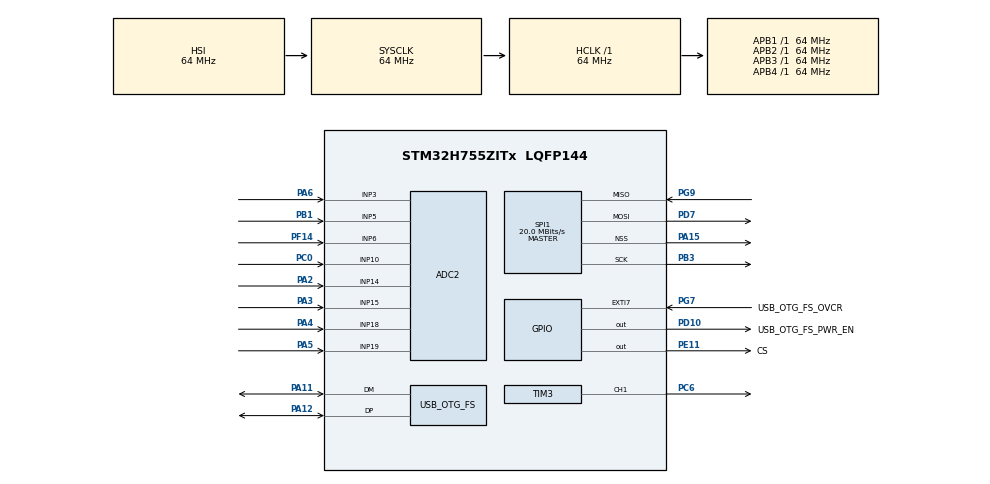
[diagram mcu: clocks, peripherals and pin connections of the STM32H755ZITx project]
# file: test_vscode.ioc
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ADC2.Channel-2\#ChannelRegularConversion=ADC_CHANNEL_3
ADC2.Channel-3\#ChannelRegularConversion=ADC_CHANNEL_5
ADC2.Channel-4\#ChannelRegularConversion=ADC_CHANNEL_6
ADC2.Channel-5\#ChannelRegularConversion=ADC_CHANNEL_10
ADC2.Channel-6\#ChannelRegularConversion=ADC_CHANNEL_14
ADC2.Channel-7\#ChannelRegularConversion=ADC_CHANNEL_15
ADC2.Channel-8\#ChannelRegularConversion=ADC_CHANNEL_18
ADC2.Channel-9\#ChannelRegularConversion=ADC_CHANNEL_19
ADC2.ContinuousConvMode=DISABLE
ADC2.ConversionDataManagement=ADC_CONVERSIONDATA_DMA_CIRCULAR
ADC2.EOCSelection=ADC_EOC_SEQ_CONV
ADC2.EnableInjectedConversion=DISABLE
ADC2.ExternalTrigConv=ADC_EXTERNALTRIG_T8_TRGO
ADC2.Mode=ADC_MODE_INDEPENDENT
ADC2.NbrOfConversion=8
ADC2.NbrOfConversionFlag=1
ADC2.OffsetNumber-2\#ChannelRegularConversion=ADC_OFFSET_NONE
ADC2.OffsetNumber-3\#ChannelRegularConversion=ADC_OFFSET_NONE
ADC2.OffsetNumber-4\#ChannelRegularConversion=ADC_OFFSET_NONE
ADC2.OffsetNumber-5\#ChannelRegularConversion=ADC_OFFSET_NONE
ADC2.OffsetNumber-6\#ChannelRegularConversion=ADC_OFFSET_NONE
ADC2.OffsetNumber-7\#ChannelRegularConversion=ADC_OFFSET_NONE
ADC2.OffsetNumber-8\#ChannelRegularConversion=ADC_OFFSET_NONE
ADC2.OffsetNumber-9\#ChannelRegularConversion=ADC_OFFSET_NONE
ADC2.OffsetSignedSaturation-2\#ChannelRegularConversion=DISABLE
ADC2.OffsetSignedSaturation-3\#ChannelRegularConversion=DISABLE
ADC2.OffsetSignedSaturation-4\#ChannelRegularConversion=DISABLE
ADC2.OffsetSignedSaturation-5\#ChannelRegularConversion=DISABLE
ADC2.OffsetSignedSaturation-6\#ChannelRegularConversion=DISABLE
ADC2.OffsetSignedSaturation-7\#ChannelRegularConversion=DISABLE
ADC2.OffsetSignedSaturation-8\#ChannelRegularConversion=DISABLE
ADC2.OffsetSignedSaturation-9\#ChannelRegularConversion=DISABLE
ADC2.Overrun=ADC_OVR_DATA_OVERWRITTEN
ADC2.Rank-2\#ChannelRegularConversion=1
ADC2.Rank-3\#ChannelRegularConversion=2
ADC2.Rank-4\#ChannelRegularConversion=3
ADC2.Rank-5\#ChannelRegularConversion=4
ADC2.Rank-6\#ChannelRegularConversion=5
ADC2.Rank-7\#ChannelRegularConversion=6
ADC2.Rank-8\#ChannelRegularConversion=7
ADC2.Rank-9\#ChannelRegularConversion=8
ADC2.SamplingTime-2\#ChannelRegularConversion=ADC_SAMPLETIME_32CYCLES_5
ADC2.SamplingTime-3\#ChannelRegularConversion=ADC_SAMPLETIME_32CYCLES_5
ADC2.SamplingTime-4\#ChannelRegularConversion=ADC_SAMPLETIME_32CYCLES_5
ADC2.SamplingTime-5\#ChannelRegularConversion=ADC_SAMPLETIME_32CYCLES_5
ADC2.SamplingTime-6\#ChannelRegularConversion=ADC_SAMPLETIME_32CYCLES_5
ADC2.SamplingTime-7\#ChannelRegularConversion=ADC_SAMPLETIME_32CYCLES_5
ADC2.SamplingTime-8\#ChannelRegularConversion=ADC_SAMPLETIME_32CYCLES_5
ADC2.SamplingTime-9\#ChannelRegularConversion=ADC_SAMPLETIME_32CYCLES_5
CORTEX_M7.AccessPermission-Cortex_Memory_Protection_Unit_Region0_Settings=MPU_REGION_FULL_ACCESS
CORTEX_M7.BaseAddress-Cortex_Memory_Protection_Unit_Region0_Settings=0x30000000
CORTEX_M7.CPU_DCache=Enabled
CORTEX_M7.CPU_ICache=Enabled
CORTEX_M7.DisableExec-Cortex_Memory_Protection_Unit_Region0_Settings=MPU_INSTRUCTION_ACCESS_DISABLE
CORTEX_M7.Enable-Cortex_Memory_Protection_Unit_Region0_Settings=MPU_REGION_ENABLE
CORTEX_M7.IsBufferable-Cortex_Memory_Protection_Unit_Region0_Settings=MPU_ACCESS_BUFFERABLE
CORTEX_M7.IsShareable-Cortex_Memory_Protection_Unit_Region0_Settings=MPU_ACCESS_SHAREABLE
CORTEX_M7.MPU_Control=MPU_PRIVILEGED_DEFAULT
CORTEX_M7.Size-Cortex_Memory_Protection_Unit_Region0_Settings=MPU_REGION_SIZE_4KB
CortexM4.IPs=FATFS_M4\:I,FREERTOS_M4\:I,IWDG2\:I,RCC,WWDG2\:I,DMA,BDMA,MDMA,NVIC2\:I,USART3,DEBUG,PDM2PCM_M4\:I,PWR,RESMGR_UTILITY,SYS_M4\:I,USB_DEVICE_M4\:I,USB_HOST_M4\:I,CORTEX_M4\:I,GPIO,OPENAMP_M4\:I,VREFBUF,NUCLEO-H755ZI-Q
CortexM7.IPs=FATFS_M7\:I,FREERTOS_M7\:I,IWDG1\:I,RCC\:I,WWDG1\:I,DMA\:I,BDMA\:I,MDMA\:I,NVIC1\:I,USART3\:I,SYS\:I,CORTEX_M7\:I,DEBUG\:I,PDM2PCM_M7\:I,PWR\:I,RESMGR_UTILITY\:I,USB_DEVICE_M7\:I,USB_HOST_M7\:I,GPIO\:I,OPENAMP_M7\:I,VREFBUF\:I,NUCLEO-H755ZI-Q\:I,ADC2\:I,TIM8\:I,SPI1\:I,MEMORYMAP\:I,TIM1\:I,USB_OTG_FS\:I,TIM3\:I
Dma.ADC2.0.Direction=DMA_PERIPH_TO_MEMORY
Dma.ADC2.0.EventEnable=DISABLE
Dma.ADC2.0.FIFOMode=DMA_FIFOMODE_DISABLE
Dma.ADC2.0.Instance=DMA1_Stream1
Dma.ADC2.0.MemDataAlignment=DMA_MDATAALIGN_HALFWORD
Dma.ADC2.0.MemInc=DMA_MINC_ENABLE
Dma.ADC2.0.Mode=DMA_CIRCULAR
Dma.ADC2.0.PeriphDataAlignment=DMA_PDATAALIGN_HALFWORD
Dma.ADC2.0.PeriphInc=DMA_PINC_DISABLE
Dma.ADC2.0.Polarity=HAL_DMAMUX_REQ_GEN_RISING
Dma.ADC2.0.Priority=DMA_PRIORITY_LOW
Dma.ADC2.0.RequestNumber=1
Dma.ADC2.0.SignalID=NONE
Dma.ADC2.0.SyncEnable=DISABLE
Dma.ADC2.0.SyncPolarity=HAL_DMAMUX_SYNC_NO_EVENT
Dma.ADC2.0.SyncRequestNumber=1
Dma.ADC2.0.SyncSignalID=NONE
Dma.Request0=ADC2
Dma.Request1=SPI1_TX
Dma.SPI1_TX.1.Direction=DMA_MEMORY_TO_PERIPH
Dma.SPI1_TX.1.EventEnable=DISABLE
Dma.SPI1_TX.1.FIFOMode=DMA_FIFOMODE_DISABLE
Dma.SPI1_TX.1.Instance=DMA2_Stream0
Dma.SPI1_TX.1.MemDataAlignment=DMA_MDATAALIGN_WORD
Dma.SPI1_TX.1.MemInc=DMA_MINC_ENABLE
Dma.SPI1_TX.1.Mode=DMA_NORMAL
Dma.SPI1_TX.1.PeriphDataAlignment=DMA_PDATAALIGN_WORD
Dma.SPI1_TX.1.PeriphInc=DMA_PINC_DISABLE
Dma.SPI1_TX.1.Polarity=HAL_DMAMUX_REQ_GEN_RISING
Dma.SPI1_TX.1.Priority=DMA_PRIORITY_VERY_HIGH
Dma.SPI1_TX.1.RequestNumber=1
Dma.SPI1_TX.1.SignalID=NONE
Dma.SPI1_TX.1.SyncEnable=DISABLE
Dma.SPI1_TX.1.SyncPolarity=HAL_DMAMUX_SYNC_NO_EVENT
Dma.SPI1_TX.1.SyncRequestNumber=1
Dma.SPI1_TX.1.SyncSignalID=NONE
Mcu.Family=STM32H7
Mcu.Name=STM32H755ZITx
Mcu.Package=LQFP144
NUCLEO-H755ZI-Q.BUTTON=1
NUCLEO-H755ZI-Q.LD1=true
NUCLEO-H755ZI-Q.LD2=true
NUCLEO-H755ZI-Q.LD3=true
NUCLEO-H755ZI-Q.VCP=true
NVIC1.ADC_IRQn=true\:0\:0\:false\:false\:true\:true\:true\:true
NVIC1.DMA1_Stream1_IRQn=true\:0\:0\:false\:false\:true\:false\:true\:true
NVIC1.DMA2_Stream0_IRQn=true\:0\:0\:false\:false\:true\:false\:true\:true
NVIC1.EXTI15_10_IRQn=true\:0\:0\:false\:false\:true\:false\:true\:true
NVIC1.OTG_FS_IRQn=true\:0\:0\:false\:false\:true\:true\:true\:true
NVIC1.PriorityGroup=NVIC_PRIORITYGROUP_4
NVIC1.SPI1_IRQn=true\:0\:0\:false\:false\:true\:false\:true\:true
NVIC1.TIM1_BRK_IRQn=true\:0\:0\:false\:false\:true\:true\:true\:true
NVIC1.TIM1_CC_IRQn=true\:0\:0\:false\:false\:true\:true\:true\:true
NVIC1.TIM1_TRG_COM_IRQn=true\:0\:0\:false\:false\:true\:true\:true\:true
NVIC1.TIM1_UP_IRQn=true\:0\:0\:false\:false\:true\:true\:true\:true
NVIC1.TIM3_IRQn=true\:0\:0\:false\:false\:true\:true\:true\:true
NVIC1.TIM8_BRK_TIM12_IRQn=true\:0\:0\:false\:false\:true\:true\:true\:true
NVIC1.TIM8_CC_IRQn=true\:0\:0\:false\:false\:true\:true\:true\:true
NVIC1.TIM8_TRG_COM_TIM14_IRQn=true\:0\:0\:false\:false\:true\:true\:true\:true
NVIC1.TIM8_UP_TIM13_IRQn=true\:0\:0\:false\:false\:true\:true\:true\:true
NVIC2.PriorityGroup=NVIC_PRIORITYGROUP_4
PA1.PinAttribute=CortexM4
PA1.Signal=ETH_REF_CLK
PA11.Mode=Device_Only
PA11.PinAttribute=CortexM7
PA11.Signal=USB_OTG_FS_DM
PA12.Mode=Device_Only
PA12.PinAttribute=CortexM7
PA12.Signal=USB_OTG_FS_DP
PA13\ (JTMS/SWDIO).Mode=Serial_Wire
PA13\ (JTMS/SWDIO).PinAttribute=CortexM7
PA13\ (JTMS/SWDIO).Signal=DEBUG_JTMS-SWDIO
PA14\ (JTCK/SWCLK).Mode=Serial_Wire
PA14\ (JTCK/SWCLK).PinAttribute=CortexM7
PA14\ (JTCK/SWCLK).Signal=DEBUG_JTCK-SWCLK
PA15\ (JTDI).Mode=NSS_Signal_Hard_Output
PA15\ (JTDI).PinAttribute=CortexM7
PA15\ (JTDI).Signal=SPI1_NSS
PA2.PinAttribute=CortexM7
PA2.Signal=ADCx_INP14
PA3.PinAttribute=CortexM7
PA3.Signal=ADCx_INP15
PA4.PinAttribute=CortexM7
PA4.Signal=ADCx_INP18
PA5.PinAttribute=CortexM7
PA5.Signal=ADCx_INP19
PA6.PinAttribute=CortexM7
PA6.Signal=ADCx_INP3
PA7.PinAttribute=Free
PA7.Signal=ADCx_INP7
PA8.PinAttribute=CortexM7
PA8.Signal=USB_OTG_FS_SOF
PA9.PinAttribute=CortexM7
PA9.Signal=USB_OTG_FS_VBUS
PB1.PinAttribute=CortexM7
PB1.Signal=ADCx_INP5
PB13.Signal=ETH_TXD1
PB3\ (JTDO/TRACESWO).GPIO_Mode=GPIO_MODE_AF_PP
PB3\ (JTDO/TRACESWO).GPIO_PuPd=GPIO_NOPULL
PB3\ (JTDO/TRACESWO).GPIO_Speed=GPIO_SPEED_FREQ_LOW
PB3\ (JTDO/TRACESWO).Mode=Full_Duplex_Master
PB3\ (JTDO/TRACESWO).PinAttribute=CortexM7
PB3\ (JTDO/TRACESWO).Signal=SPI1_SCK
PC0.PinAttribute=CortexM7
PC0.Signal=ADCx_INP10
PC1.PinAttribute=CortexM4
PC1.Signal=ETH_MDC
PC14-OSC32_IN\ (OSC32_IN).PinAttribute=Free
PC14-OSC32_IN\ (OSC32_IN).Signal=RCC_OSC32_IN
PC15-OSC32_OUT\ (OSC32_OUT).PinAttribute=Free
PC15-OSC32_OUT\ (OSC32_OUT).Signal=RCC_OSC32_OUT
PC4.PinAttribute=CortexM7
PC4.Signal=ADCx_INP4
PC5.PinAttribute=CortexM4
PC5.Signal=ETH_RXD1
PC6.PinAttribute=CortexM7
PC6.Signal=S_TIM3_CH1
PD10.GPIO_Label=USB_OTG_FS_PWR_EN
PD10.PinAttribute=Free
PD10.Signal=GPIO_Output
PD7.GPIO_Mode=GPIO_MODE_AF_PP
PD7.GPIO_PuPd=GPIO_NOPULL
PD7.GPIO_Speed=GPIO_SPEED_FREQ_LOW
PD7.Mode=Full_Duplex_Master
PD7.PinAttribute=CortexM7
PD7.Signal=SPI1_MOSI
PD8.Signal=USART3_TX
PD9.Signal=USART3_RX
PE11.GPIO_Label=CS
PE11.GPIO_ModeDefaultOutputPP=GPIO_MODE_OUTPUT_PP
PE11.GPIO_Speed=GPIO_SPEED_FREQ_MEDIUM
PE11.PinAttribute=Free
PE11.PinState=GPIO_PIN_SET
PE11.Signal=GPIO_Output
PF14.Mode=IN6-Single-Ended
PF14.PinAttribute=CortexM7
PF14.Signal=ADC2_INP6
PG11.PinAttribute=CortexM4
PG11.Signal=ETH_TX_EN
PG13.Signal=ETH_TXD0
PG7.GPIO_Label=USB_OTG_FS_OVCR
PG7.PinAttribute=Free
PG7.Signal=GPXTI7
PG9.GPIO_Mode=GPIO_MODE_AF_PP
PG9.GPIO_PuPd=GPIO_NOPULL
PG9.GPIO_Speed=GPIO_SPEED_FREQ_LOW
PG9.Mode=Full_Duplex_Master
PG9.PinAttribute=CortexM7
PG9.Signal=SPI1_MISO
PH0-OSC_IN\ (PH0).PinAttribute=Free
PH0-OSC_IN\ (PH0).Signal=RCC_OSC_IN
PH1-OSC_OUT\ (PH1).PinAttribute=Free
PH1-OSC_OUT\ (PH1).Signal=RCC_OSC_OUT
ProjectManager.HeapSize=M4-0x200,M7-0x200
ProjectManager.StackSize=M4-0x400,M7-0x400
ProjectManager.TargetToolchain=CMake
RCC.ADCFreq_Value=75000000
RCC.APB1Freq_Value=64000000
RCC.APB2Freq_Value=64000000
RCC.APB3Freq_Value=64000000
RCC.APB4Freq_Value=64000000
RCC.CortexFreq_Value=64000000
RCC.DIVM1=4
RCC.DIVM2=4
RCC.DIVN1=10
RCC.DIVN2=9
RCC.HCLKFreq_Value=64000000
RCC.PLL2FRACN=3072
RCC.PLL3FRACN=0
RCC.PLLFRACN=0
RCC.SYSCLKFreq_VALUE=64000000
RCC.SupplySource=PWR_DIRECT_SMPS_SUPPLY
RCC.USBCLockSelection=RCC_USBCLKSOURCE_HSI48
RCC.USBFreq_Value=48000000
SH.ADCx_INP10.0=ADC2_INP10,IN10-Single-Ended
SH.ADCx_INP14.0=ADC2_INP14,IN14-Single-Ended
SH.ADCx_INP15.0=ADC2_INP15,IN15-Single-Ended
SH.ADCx_INP18.0=ADC2_INP18,IN18-Single-Ended
SH.ADCx_INP19.0=ADC2_INP19,IN19-Single-Ended
SH.ADCx_INP3.0=ADC2_INP3,IN3-Single-Ended
SH.ADCx_INP4.0=ADC2_INP4
SH.ADCx_INP5.0=ADC2_INP5,IN5-Single-Ended
SH.ADCx_INP7.0=ADC1_INP7
SH.ADCx_INP7.1=ADC2_INP7
SH.S_TIM3_CH1.0=TIM3_CH1,PWM Generation1 CH1
SPI1.BaudRatePrescaler=SPI_BAUDRATEPRESCALER_4
SPI1.CLKPhase=SPI_PHASE_2EDGE
SPI1.CLKPolarity=SPI_POLARITY_LOW
SPI1.CalculateBaudRate=20.0 MBits/s
SPI1.DataSize=SPI_DATASIZE_32BIT
SPI1.Direction=SPI_DIRECTION_2LINES
SPI1.Mode=SPI_MODE_MASTER
SPI1.NSSPMode=SPI_NSS_PULSE_ENABLE
SPI1.VirtualNSS=VM_NSSHARD
SPI1.VirtualType=VM_MASTER
TIM1.Period=1000-1
TIM1.Prescaler=64-1
TIM1.TIM_MasterOutputTrigger=TIM_TRGO_UPDATE
TIM3.Channel-PWM\ Generation1\ CH1=TIM_CHANNEL_1
TIM3.OCFastMode_PWM-PWM\ Generation1\ CH1=TIM_OCFAST_DISABLE
TIM3.OCPolarity_1=TIM_OCPOLARITY_HIGH
TIM3.Period=1000-1
TIM3.Prescaler=640-1
TIM3.Pulse-PWM\ Generation1\ CH1=100
TIM8.Period=10-1
TIM8.Prescaler=64-1
TIM8.TIM_MasterOutputTrigger=TIM_TRGO_UPDATE
USB_DEVICE_M7.APP_RX_DATA_SIZE-CDC_FS=2048
USB_DEVICE_M7.APP_TX_DATA_SIZE-CDC_FS=2048
USB_DEVICE_M7.CLASS_NAME_FS=CDC
USB_DEVICE_M7.USBD_MAX_STR_DESC_SIZ-CDC_FS=2048
USB_DEVICE_M7.VirtualMode-CDC_FS=Cdc
USB_DEVICE_M7.VirtualModeFS=Cdc_FS
USB_OTG_FS.VirtualMode=Device_Only
VP_MEMORYMAP_VS_MEMORYMAP.Mode=CurAppReg
VP_NUCLEO-H755ZI-Q_VS_BSP_COMMON.Mode=COMMON
VP_SYS_M4_VS_Systick.Mode=SysTick
VP_TIM1_VS_ClockSourceINT.Mode=Internal
VP_TIM3_VS_ClockSourceINT.Mode=Internal
VP_TIM3_VS_OPM.Mode=OPM_bit
VP_TIM8_VS_ClockSourceINT.Mode=Internal
VP_USB_DEVICE_M7_VS_USB_DEVICE_CDC_FS.Mode=CDC_FS
VP_VREFBUF_V_VREFBUF.Mode=ExternalMode
board=NUCLEO-H755ZI-Q

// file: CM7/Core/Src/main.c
/* USER CODE BEGIN Header */
/**
 ******************************************************************************
 * @file           : main.c
 * @brief          : Main program body
 ******************************************************************************
 * @attention
 *
 * Copyright (c) 2026 STMicroelectronics.
 * All rights reserved.
 *
 * This software is licensed under terms that can be found in the LICENSE file
 * in the root directory of this software component.
 * If no LICENSE file comes with this software, it is provided AS-IS.
 *
 ******************************************************************************
 */
/* USER CODE END Header */
#include "main.h"
#include "stm32h7xx_hal_spi.h"
#include "usb_device.h"

/* USER CODE BEGIN Includes */
#include "dac8568.h"
#include "image_coder.h"
#include "usbd_cdc.h"
#include "usbd_cdc_if.h"
#include <math.h>
#include <stdbool.h>
#include <stddef.h>
#include <stdint.h>
#include <string.h>

/* USER CODE END Includes */

/* USER CODE BEGIN PD */
#define USB_BUFFLEN 256

/* DUAL_CORE_BOOT_SYNC_SEQUENCE: Define for dual core boot synchronization    */
/*                             demonstration code based on hardware semaphore */
/* This define is present in both CM7/CM4 projects                            */
/* To comment when developping/debugging on a single core                     */
#define DUAL_CORE_BOOT_SYNC_SEQUENCE

#if defined(DUAL_CORE_BOOT_SYNC_SEQUENCE)
#ifndef HSEM_ID_0
#define HSEM_ID_0 (0U) /* HW semaphore 0*/
#endif
#endif /* DUAL_CORE_BOOT_SYNC_SEQUENCE */

/* USER CODE END PD */

/* USER CODE BEGIN PM */
#define ADC_NUM_CONVERSIONS 8
#define BUFF_MULTIPLY 8
#define IMAGE_SIZE 8
#define EXPECTED_PACKET_SIZE 71
#define READOUT_VOLTAGE_V 0.25f
#define READOUT_SAMPLES 150

#define APB_CLOCK_HZ 65000000U
#define TIMER8_FREQ_HZ 100000U // 100kHz ADC trigger
#define TIMER1_FREQ_HZ 4000U   // 1kHz DAC trigger

#define DAC_REF_VOLTAGE_V 2.5f
#define ADC_REF_VOLTAGE_V 3.3f
#define PULSE_AMPLITUDE_V 2.25f

#define DAC_PERIOD_S (1.0f / TIMER1_FREQ_HZ) // 0.001s = 1ms
#define SUPPLY_PERIOD_MS 1.0f                // 10ms

// Calculate compile-time constants
#define SUPPLY_PERIOD_S (SUPPLY_PERIOD_MS / 1000.0f) // 0.01s
#define TOTAL_SUPPLY_CYCLES                                                    \
  ((size_t)(TIMER1_FREQ_HZ * SUPPLY_PERIOD_S)) // 10 cycles
#define EXPECTED_SAMPLES_PER_ROW                                               \
  (IMAGE_SIZE * TOTAL_SUPPLY_CYCLES) // 100 samples

#define DAC_BATCH_SIZE 9 // 8 channel writes + 1 update command

/* USER CODE END PM */

COM_InitTypeDef BspCOMInit;
ADC_HandleTypeDef hadc2;
DMA_HandleTypeDef hdma_adc2;

SPI_HandleTypeDef hspi1;
DMA_HandleTypeDef hdma_spi1_tx;

TIM_HandleTypeDef htim1;
TIM_HandleTypeDef htim3;
TIM_HandleTypeDef htim8;

/* USER CODE BEGIN PV */
uint8_t usbTxBuf[USB_BUFFLEN];
uint16_t usbTxBufLen;

uint8_t usbRxBuf[USB_BUFFLEN];
uint16_t usbRxBufLen;
uint8_t usbDataReceived = 0;
uint8_t imageReceived = 0;

uint8_t image_buffer[IMAGE_SIZE][IMAGE_SIZE];

// Accumulator for fragmented USB packets
volatile uint8_t accumulator[USB_BUFFLEN];
volatile uint16_t accum_len = 0;
volatile uint8_t packet_ready = 0;

// Debug counters
volatile uint32_t rx_callback_count = 0;
volatile uint32_t packets_processed = 0;

typedef enum {
  DAC_STATE_IDLE,
  DAC_STATE_SENDING_CHANNELS,
  DAC_STATE_SENDING_UPDATE,
  DAC_STATE_COMPLETE,
  DAC_STATE_WAITING_TIMER,
  DAC_STATE_BUSY,
  DAC_STATE_WRITE_COMPLETE, // ← New: Write phase done
  DAC_STATE_READOUT_INIT,   // ← New: Preparing readout
  DAC_STATE_READOUT_ACTIVE, // ← New: Reading ADC
  DAC_STATE_ZEROING,        //

} DAC_State_t;

volatile DAC_State_t dac_state = DAC_STATE_IDLE;
volatile uint8_t current_channel = 0;
volatile size_t current_pixel = 0;
volatile size_t total_pixels = 0;
volatile DACValueCommand *current_dac_values = NULL;

volatile uint32_t readout_sample_count = 0;
volatile uint8_t readout_complete = 0;

volatile uint8_t readout_pulse_channel = 0;
volatile uint8_t readout_pulse_complete = 0;
volatile uint8_t callback_count = 0;

// Channel lookup table
const uint8_t channels[8] = {CHANNEL_A, CHANNEL_B, CHANNEL_C, CHANNEL_D,
                             CHANNEL_E, CHANNEL_F, CHANNEL_G, CHANNEL_H};
const float adc_period = 1.0f / (float)TIMER8_FREQ_HZ;
const float dac_period = DAC_PERIOD_S;

static const float supply_period = SUPPLY_PERIOD_S;
static const size_t total_supply_cycles = TOTAL_SUPPLY_CYCLES;
static const size_t expected_samples_per_row = EXPECTED_SAMPLES_PER_ROW;
static DACValueCommand dac_values_timed[EXPECTED_SAMPLES_PER_ROW];

volatile uint8_t manual_hw_reset_requested = 0;
/* USER CODE END PV */

void SystemClock_Config(void);
static void MPU_Config(void);
static void MX_DMA_Init(void);
static void MX_GPIO_Init(void);
static void MX_ADC2_Init(void);
static void MX_TIM8_Init(void);
static void MX_SPI1_Init(void);
static void MX_TIM1_Init(void);
static void MX_TIM3_Init(void);

/* USER CODE BEGIN 0 */
volatile uint8_t dac_ready = 1; // ← CRITICAL: Add this!

__attribute__((section(
    ".adcarray"))) uint16_t ADC_VAL[ADC_NUM_CONVERSIONS * READOUT_SAMPLES];

__attribute__((
    section(".adcarray"))) uint32_t TX_batch_buffer[DAC_BATCH_SIZE] = {0};

/* Keep single-word buffer for non-batch operations (readout, zeroing) */
__attribute__((section(".adcarray"))) uint32_t TX_buffer[1] = {0};

/* DMA completion flag */
volatile uint8_t spi_dma_complete = 0;

volatile float value[ADC_NUM_CONVERSIONS];
int count = 0;

uint16_t get_channel_value(volatile DACValueCommand *dac_val, uint8_t ch) {
  switch (ch) {
  case 0:
    return dac_val->ch1;
  case 1:
    return dac_val->ch2;
  case 2:
    return dac_val->ch3;
  case 3:
    return dac_val->ch4;
  case 4:
    return dac_val->ch5;
  case 5:
    return dac_val->ch6;
  case 6:
    return dac_val->ch7;
  case 7:
    return dac_val->ch8;
  default:
    return 0;
  }
}

/**
 * @brief Fill TX_batch_buffer with 8 channel writes + 1 update command
 * @param dac_val Pointer to current pixel's DACValueCommand
 */
void Build_DAC_Batch(volatile DACValueCommand *dac_val) {
  DACcommand cmd;
  cmd.feature = FEATURE_NO_OPERATION;

  // 8 channel WRITE commands
  for (uint8_t ch = 0; ch < 8; ch++) {
    cmd.control = CMD_WRITE;
    cmd.channel = channels[ch];
    cmd.data = get_channel_value(dac_val, ch);
    TX_batch_buffer[ch] = set_command_word(&cmd);
  }

  // UPDATE ALL command (index 8)
  cmd.control = CMD_UPDATE;
  cmd.channel = CHANNEL_ALL;
  cmd.data = 0;
  TX_batch_buffer[8] = set_command_word(&cmd);
}

long map(long x, long in_min, long in_max, long out_min, long out_max) {
  // Clamp input to valid range
  if (x < in_min)
    return out_min;
  if (x > in_max)
    return out_max;

  // Use long long to prevent overflow during multiplication
  return (long)(((long long)(x - in_min) * (out_max - out_min)) /
                (in_max - in_min)) +
         out_min;
}

float mapf(long x, long in_min, long in_max, float out_min, float out_max) {
  // Clamp input to valid range
  if (x < in_min)
    return out_min;
  if (x > in_max)
    return out_max;

  // Calculate with float precision
  return (float)(x - in_min) * (out_max - out_min) / (in_max - in_min) +
         out_min;
}

void HAL_SPI_TxCpltCallback(SPI_HandleTypeDef *hspi) {
  if (hspi != &hspi1)
    return;

  if (dac_state == DAC_STATE_READOUT_INIT) {
    // Readout pulse sent — start ADC sampling
    dac_state = DAC_STATE_READOUT_ACTIVE;
    __HAL_TIM_SET_COUNTER(&htim8, 0);
    __HAL_TIM_CLEAR_FLAG(&htim8, TIM_FLAG_UPDATE);
    HAL_TIM_Base_Start(&htim8);
  }
}

size_t create_csv_record(char *buffer, size_t buffer_size,
                         size_t num_decimals) {
  if (buffer_size == 0)
    return 0;

  size_t offset = 0;

  // Optimization: Pre-calculate multiplier to avoid pow() in loop
  int multiplier = 1;
  for (size_t k = 0; k < num_decimals; k++) {
    multiplier *= 10;
  }

  for (size_t i = 0; i < ADC_NUM_CONVERSIONS; i++) {
    float val = value[i];

    // 1. Handle Sign explicitly to fix the "-0.5" bug
    char sign = '\0';
    if (val < 0) {
      sign = '-';
      val = -val; // Make positive for calculation
    }

    // 2. Rounding and Integer/Frac split
    // Adding 0.5f before casting effects "rounding to nearest" rather than
    // truncation
    int whole = (int)val;
    int frac = (int)((val - whole) * multiplier + 0.5f);

    // Handle edge case: rounding rolls over (e.g., 1.999 -> 2.000)
    if (frac >= multiplier) {
      whole++;
      frac = 0;
    }

    // 3. Dynamic Format String Logic
    // We cannot use %03d because num_decimals varies.
    // We verify space exists for worst case (sign + whole + . + frac + comma)
    int written;

    // Note: '%.*d' allows dynamic width for the integer precision (padding
    // zeros)
    written = snprintf(
        buffer + offset, buffer_size - offset, "%c%d.%.*d",
        (sign ? sign : '\0'), // Hack to print sign only if needed (or nothing)
        whole, (int)num_decimals, frac);

    // Note: snprintf returns what it *would* have written.
    // We must check if it actually fit.
    if (written < 0 || (size_t)written >= buffer_size - offset) {
      // Buffer full or error
      buffer[buffer_size - 1] = '\0'; // Ensure termination
      return offset;
    }
    offset += written;

    // 4. Append Comma
    if (i < ADC_NUM_CONVERSIONS - 1) {
      if (offset + 1 < buffer_size) {
        buffer[offset++] = ',';
      } else {
        buffer[buffer_size - 1] = '\0';
        return offset;
      }
    }
  }

  // 5. Safe Line Termination (Checking for 3 chars: \r, \n, \0)
  if (offset + 2 < buffer_size) {
    buffer[offset++] = '\r';
    buffer[offset++] = '\n';
    buffer[offset] = '\0';
  } else {
    // Force null termination if we ran out of space for CRLF
    buffer[buffer_size - 1] = '\0';
  }

  return offset;
}

bool receive_image_8x8(uint8_t *buffer, uint16_t buffer_size,
                       uint8_t image_out[IMAGE_SIZE][IMAGE_SIZE]) {
  // Verify header
  if (buffer[0] != 0xAA || buffer[1] != 0x55) {
    return false;
  }

  // Parse dimensions (2 bytes each, little-endian)
  uint16_t h = buffer[2] | (buffer[3] << 8);
  uint16_t w = buffer[4] | (buffer[5] << 8);

  // Verify it's 8x8
  if (h != IMAGE_SIZE || w != IMAGE_SIZE) {
    return false;
  }

  // Check buffer size
  if (buffer_size < 71) {
    return false;
  }

  // Calculate checksum
  uint8_t calc_checksum = 0;
  for (uint8_t i = 0; i < 64; i++) {
    calc_checksum += buffer[6 + i];
  }

  if (calc_checksum != buffer[70]) {
    return false; // Checksum mismatch
  }

  // Copy image data (starts at byte 6)
  memcpy(image_out, &buffer[6], 64);

  return true;
}

float median_of_4(uint16_t a, uint16_t b, uint16_t c, uint16_t d) {
  // Sort 4 values and return average of middle two
  uint16_t arr[4] = {a, b, c, d};

  // Simple bubble sort for 4 elements
  for (int i = 0; i < 3; i++)
    for (int j = 0; j < 3 - i; j++)
      if (arr[j] > arr[j + 1]) {
        uint16_t temp = arr[j];
        arr[j] = arr[j + 1];
        arr[j + 1] = temp;
      }

  // Return median (average of middle two values)
  return ((arr[1] + arr[2]) / 2.0f) * ADC_REF_VOLTAGE_V / 65535.0f;
}

void Set_DAC_Outputs_Zero(void) {
  DACcommand cmd;
  cmd.control = CMD_WRITE_UPDATE_ALL;
  cmd.feature = FEATURE_NO_OPERATION;
  cmd.channel = CHANNEL_ALL;
  cmd.data = 0x0000; // 0V

  TX_buffer[0] = set_command_word(&cmd);

  // Use blocking transmission (called after readout complete)
  HAL_SPI_Transmit_DMA(&hspi1, (uint8_t *)TX_buffer, 1);
}

void HAL_ADC_ConvCpltCallback(ADC_HandleTypeDef *hadc) {
  if (hadc != &hadc2)
    return;
  if (dac_state == DAC_STATE_READOUT_ACTIVE) {
    HAL_TIM_Base_Stop(&htim8);

    // Zero DAC - blocking
    DACcommand cmd;
    cmd.control = CMD_WRITE_UPDATE_ALL;
    cmd.channel = CHANNEL_ALL;
    cmd.data = 0x0000;
    TX_buffer[0] = set_command_word(&cmd);
    HAL_SPI_Transmit_DMA(&hspi1, (uint8_t *)TX_buffer, 1);

    dac_state = DAC_STATE_COMPLETE;
    readout_complete = 1;
  }
}

void Send_Readout_Pulse_Start(void) {
  // Reset state
  readout_pulse_channel = 0;
  readout_pulse_complete = 0;

  // Convert 0.15V to DAC value
  uint16_t readout_dac_value =
      (uint16_t)(READOUT_VOLTAGE_V / DAC_REF_VOLTAGE_V * 65535.0f);

  // Send first channel
  DACcommand cmd;
  cmd.control = CMD_WRITE;
  cmd.feature = FEATURE_NO_OPERATION;
  cmd.channel = channels[0];
  cmd.data = readout_dac_value;

  TX_buffer[0] = set_command_word(&cmd);
  HAL_SPI_Transmit_DMA(&hspi1, (uint8_t *)TX_buffer, 1);

  readout_pulse_channel++;
}

void Send_Readout_Pulse_Continue(void) {
  uint16_t readout_dac_value =
      (uint16_t)(READOUT_VOLTAGE_V / DAC_REF_VOLTAGE_V * 65535.0f);
  DACcommand cmd;

  if (readout_pulse_channel < 8) {
    // Send next channel
    cmd.control = CMD_WRITE;
    cmd.feature = FEATURE_NO_OPERATION;
    cmd.channel = channels[readout_pulse_channel];
    cmd.data = readout_dac_value;

    TX_buffer[0] = set_command_word(&cmd);
    HAL_SPI_Transmit_DMA(&hspi1, (uint8_t *)TX_buffer, 1);

    readout_pulse_channel++;

  } else if (readout_pulse_channel == 8) {
    // All channels sent, send UPDATE
    cmd.control = CMD_UPDATE;
    cmd.channel = CHANNEL_ALL;
    cmd.data = 0;

    TX_buffer[0] = set_command_word(&cmd);
    HAL_SPI_Transmit_DMA(&hspi1, (uint8_t *)TX_buffer, 1);

    readout_pulse_channel++;

  } else {
    // UPDATE sent, done
    readout_pulse_complete = 1;
  }
}
void Start_Readout_Phase(void) {
  readout_complete = 0;

  uint16_t readout_dac_value =
      (uint16_t)(READOUT_VOLTAGE_V / DAC_REF_VOLTAGE_V * 65535.0f);

  DACcommand cmd;
  cmd.feature = FEATURE_NO_OPERATION;

  for (uint8_t ch = 0; ch < 8; ch++) {
    cmd.control = CMD_WRITE;
    cmd.channel = channels[ch];
    cmd.data = readout_dac_value;
    TX_batch_buffer[ch] = set_command_word(&cmd);
  }

  cmd.control = CMD_UPDATE;
  cmd.channel = CHANNEL_ALL;
  cmd.data = 0;
  TX_batch_buffer[8] = set_command_word(&cmd);

  // Restart ADC DMA so buffer starts at index 0
  HAL_ADC_Stop_DMA(&hadc2);
  memset(ADC_VAL, 0, sizeof(ADC_VAL));
  HAL_ADC_Start_DMA(&hadc2, (uint32_t *)ADC_VAL,
                    ADC_NUM_CONVERSIONS * READOUT_SAMPLES);

  // Send via DMA — callback will start TIM8
  dac_state = DAC_STATE_READOUT_INIT;
  HAL_SPI_Transmit_DMA(&hspi1, (uint8_t *)TX_batch_buffer, DAC_BATCH_SIZE);
}

HAL_StatusTypeDef DAC_Start_Update(DACValueCommand *dac_values,
                                   size_t pixel_count) {
  // Check if already busy
  if (dac_state != DAC_STATE_IDLE && dac_state != DAC_STATE_COMPLETE) {
    return HAL_BUSY;
  }

  // Initialize state
  dac_state = DAC_STATE_SENDING_CHANNELS;
  current_channel = 0;
  current_pixel = 0;
  total_pixels = pixel_count;
  current_dac_values = dac_values;

  // Send first channel of first pixel
  DACcommand cmd;
  cmd.control = CMD_WRITE;
  cmd.feature = FEATURE_NO_OPERATION;
  cmd.channel = CHANNEL_A;
  cmd.data = get_channel_value(&dac_values[0], 0);
  TX_buffer[0] = set_command_word(&cmd);

  HAL_StatusTypeDef status =
      HAL_SPI_Transmit_DMA(&hspi1, (uint8_t *)TX_buffer, 1);

  if (status != HAL_OK) {
    dac_state = DAC_STATE_IDLE;
    return status;
  }

  current_channel++;

  return HAL_OK;
}
HAL_StatusTypeDef DAC_Start_Timer_Sequence(DACValueCommand *dac_values,
                                           size_t pixel_count) {
  if (dac_state != DAC_STATE_IDLE && dac_state != DAC_STATE_COMPLETE) {
    return HAL_BUSY;
  }

  dac_state = DAC_STATE_WAITING_TIMER;
  current_channel = 0;
  current_pixel = 0;
  total_pixels = pixel_count;
  current_dac_values = dac_values;

  // ✅ Reset counter to prevent immediate interrupt
  __HAL_TIM_SET_COUNTER(&htim1, 0);
  __HAL_TIM_CLEAR_FLAG(&htim1, TIM_FLAG_UPDATE);

  HAL_TIM_Base_Start_IT(&htim1);

  return HAL_OK;
}
void HAL_TIM_PeriodElapsedCallback(TIM_HandleTypeDef *htim) {
  if (htim->Instance == TIM3) {
    __HAL_TIM_CLEAR_FLAG(htim, TIM_FLAG_UPDATE);
    return;
  }

  if (htim->Instance != TIM1)
    return;

  if (current_pixel < total_pixels) {
    // Build the 9-word batch for this pixel
    Build_DAC_Batch(&current_dac_values[current_pixel]);

    // Send all 9 words via single DMA transfer
    // NSSP mode auto-pulses CS between each 32-bit frame
    HAL_SPI_Transmit_DMA(&hspi1, (uint8_t *)TX_batch_buffer, DAC_BATCH_SIZE);

    current_pixel++;
  } else {
    // Programming done → start readout
    HAL_TIM_Base_Stop_IT(&htim1);
    dac_state = DAC_STATE_WRITE_COMPLETE;
    Start_Readout_Phase();
  }
}

void DAC_Stop_Timer_Sequence(void) {
  HAL_TIM_Base_Stop_IT(&htim1);
  dac_state = DAC_STATE_IDLE;
  current_pixel = 0;
}

uint8_t DAC_Is_Busy(void) {
  return (dac_state != DAC_STATE_IDLE && dac_state != DAC_STATE_COMPLETE);
}
uint32_t DAC_Get_Current_Pixel(void) { return current_pixel; }

float DAC_Get_Progress_Percent(void) {
  if (total_pixels == 0)
    return 0.0f;
  return ((float)current_pixel / (float)total_pixels) * 100.0f;
}
void DAC_Reset(void) {
  HAL_TIM_Base_Stop_IT(&htim1);
  HAL_TIM_Base_Stop(&htim8);
  // ❌ DON'T stop ADC - let it keep running

  dac_state = DAC_STATE_IDLE;
  current_channel = 0;
  current_pixel = 0;
  total_pixels = 0;
  current_dac_values = NULL;

  readout_complete = 0;
  readout_pulse_channel = 0;
  readout_pulse_complete = 0;
}

void USB_RXCallback(uint8_t *buf, uint32_t len) {

  // Catch the manual reset command (e.g., sending a single 'R')
  if (len == 1 && buf[0] == 'R') {
    manual_hw_reset_requested = 1;
    return; // Exit early so this doesn't corrupt your image accumulator
  }
  rx_callback_count++;

  // Accumulate incoming data
  for (uint32_t i = 0; i < len && accum_len < USB_BUFFLEN; i++) {
    accumulator[accum_len++] = buf[i];
  }

  // Search for complete packet (71 bytes starting with 0xAA 0x55)
  if (accum_len >= EXPECTED_PACKET_SIZE) {
    for (uint16_t i = 0; i <= accum_len - EXPECTED_PACKET_SIZE; i++) {
      if (accumulator[i] == 0xAA && accumulator[i + 1] == 0x55) {
        // Found header! Copy complete packet
        memcpy(usbRxBuf, &accumulator[i], EXPECTED_PACKET_SIZE);
        usbRxBufLen = EXPECTED_PACKET_SIZE;
        packet_ready = 1;

        // Remove processed data from accumulator
        uint16_t remaining = accum_len - (i + EXPECTED_PACKET_SIZE);
        if (remaining > 0) {
          memmove((void *)accumulator, &accumulator[i + EXPECTED_PACKET_SIZE],
                  remaining);
          accum_len = remaining;
        } else {
          accum_len = 0;
        }

        break;
      }
    }

    // Prevent overflow - reset if no valid packet found
    if (accum_len >= USB_BUFFLEN - 64) {
      accum_len = 0;
    }
  }
}

void process_image(uint8_t image[IMAGE_SIZE][IMAGE_SIZE]) {
  static DACValueCommand
      dac_values[IMAGE_SIZE * 10]; // Static to avoid stack overflow
  size_t out_size = IMAGE_SIZE * TOTAL_SUPPLY_CYCLES; // 100ms

  // Generate waveforms for all rows
  for (size_t i = 0; i < IMAGE_SIZE; i++) {
    uint16_t *dac_waveform = generate_dac_waveform(
        image[i], IMAGE_SIZE, DAC_REF_VOLTAGE_V, PULSE_AMPLITUDE_V,
        TIMER1_FREQ_HZ, supply_period, 0.5f, &out_size);

    for (size_t j = 0; j < out_size; j++) {
      switch (i) {
      case 0:
        dac_values[j].ch1 = dac_waveform[j];
        break;
      case 1:
        dac_values[j].ch2 = dac_waveform[j];
        break;
      case 2:
        dac_values[j].ch3 = dac_waveform[j];
        break;
      case 3:
        dac_values[j].ch4 = dac_waveform[j];
        break;
      case 4:
        dac_values[j].ch5 = dac_waveform[j];
        break;
      case 5:
        dac_values[j].ch6 = dac_waveform[j];
        break;
      case 6:
        dac_values[j].ch7 = dac_waveform[j];
        break;
      case 7:
        dac_values[j].ch8 = dac_waveform[j];
        break;
      }
    }
    free(dac_waveform);
  }

  // Start non-blocking DAC update
  if (DAC_Start_Update(dac_values, out_size) != HAL_OK) {
    // Handle error
    Error_Handler();
  }

  // Function returns immediately!
  // DMA callback will handle everything
}

void Send_Hardware_Reset_Pulse(void) {
  // Stop the timer to ensure a clean start
  HAL_TIM_PWM_Stop(&htim3, TIM_CHANNEL_1);

  // Reset the counter to 0
  __HAL_TIM_SET_COUNTER(&htim3, 0);

  // Start the PWM, which will output the active pulse defined by your duty
  // cycle
  HAL_TIM_PWM_Start(&htim3, TIM_CHANNEL_1);

  // 10ms — safely past the 1ms active pulse to prevent immediate overlapping
  // commands
  HAL_Delay(10);
}

void process_image_timed(uint8_t image[IMAGE_SIZE][IMAGE_SIZE]) {
  // ✅ Use the file-scope buffer instead of local static
  size_t out_size = EXPECTED_SAMPLES_PER_ROW;

  // Generate waveforms for all rows
  for (size_t row = 0; row < IMAGE_SIZE; row++) {
    size_t actual_samples = out_size;

    uint16_t *dac_waveform = generate_dac_waveform(
        image[row], IMAGE_SIZE, DAC_REF_VOLTAGE_V, PULSE_AMPLITUDE_V,
        TIMER1_FREQ_HZ, supply_period, 0.75f, &actual_samples);

    if (dac_waveform == NULL) {
      Error_Handler();
      return;
    }

    if (actual_samples > EXPECTED_SAMPLES_PER_ROW) {
      free(dac_waveform);
      Error_Handler();
      return;
    }

    if (row == 0) {
      out_size = actual_samples;
    }

    // Direct pointer to the channel for this row
    uint16_t *channel_base = ((uint16_t *)dac_values_timed) + row;

    for (size_t j = 0; j < actual_samples; j++) {
      channel_base[j * 8] = dac_waveform[j];
    }

    free(dac_waveform);
  }

  readout_complete = 0;
  // HAL_TIM_PWM_Stop(&htim3, TIM_CHANNEL_1);
  // __HAL_TIM_SET_COUNTER(&htim3, 0);
  // HAL_TIM_PWM_Start(&htim3, TIM_CHANNEL_1);
  // HAL_Delay(10); // 10ms — safely past the 1ms active pulse

  if (DAC_Start_Timer_Sequence(dac_values_timed, out_size) != HAL_OK) {
    Error_Handler();
  }
}

void process_usb_packet(void) {
  if (!packet_ready) {
    return;
  }

  // ✅ Check if system is already busy
  if (DAC_Is_Busy()) {
    // System busy, can't process new packet yet
    // Keep packet_ready flag set for retry
    return;
  }

  packet_ready = 0;
  packets_processed++;

  if (receive_image_8x8(usbRxBuf, usbRxBufLen, image_buffer)) {
    uint8_t ack = 0x06;
    CDC_Transmit_FS(&ack, 1);

    // Safe to start - we checked DAC_Is_Busy() above
    process_image_timed(image_buffer);

  } else {
    uint8_t nack = 0x15;
    CDC_Transmit_FS(&nack, 1);

    DAC_Reset(); // Clean up state
  }
}

void Process_Readout_Data(void) {
  // Average all samples per channel in scan mode
  for (uint8_t ch = 0; ch < ADC_NUM_CONVERSIONS; ch++) {
    float sum_channel = 0.0f;

    // In scan mode: data is [CH0,CH1,...,CH7, CH0,CH1,...,CH7, ...]
    for (uint32_t sample = 0; sample < READOUT_SAMPLES; sample++) {
      // ✅ Your original indexing was correct!
      uint16_t adc_raw = ADC_VAL[ch + sample * ADC_NUM_CONVERSIONS];
      sum_channel += (adc_raw * ADC_REF_VOLTAGE_V) / 65535.0f;
    }

    value[ch] = sum_channel / (float)READOUT_SAMPLES;
  }

  // Create and send CSV record
  usbTxBufLen = create_csv_record((char *)usbTxBuf, USB_BUFFLEN, 4);
  CDC_Transmit_FS(usbTxBuf, usbTxBufLen);
}
/* USER CODE END 0 */

int main(void) {

/* USER CODE BEGIN Boot_Mode_Sequence_0 */
#if defined(DUAL_CORE_BOOT_SYNC_SEQUENCE)
  int32_t timeout;
#endif /* DUAL_CORE_BOOT_SYNC_SEQUENCE */
       /* USER CODE END Boot_Mode_Sequence_0 */

  /* MPU Configuration--------------------------------------------------------*/

  MPU_Config();

  /* Enable the CPU Cache */

  /* Enable I-Cache---------------------------------------------------------*/
  SCB_EnableICache();

  /* Enable D-Cache---------------------------------------------------------*/
  SCB_EnableDCache();

/* USER CODE BEGIN Boot_Mode_Sequence_1 */
#if defined(DUAL_CORE_BOOT_SYNC_SEQUENCE)
  /* Wait until CPU2 boots and enters in stop mode or timeout*/
  timeout = 0xFFFF;
  while ((__HAL_RCC_GET_FLAG(RCC_FLAG_D2CKRDY) != RESET) && (timeout-- > 0))
    ;
  if (timeout < 0) {
    Error_Handler();
  }
#endif /* DUAL_CORE_BOOT_SYNC_SEQUENCE */
       /* USER CODE END Boot_Mode_Sequence_1 */
  /* MCU Configuration--------------------------------------------------------*/

  /* Reset of all peripherals, Initializes the Flash interface and the Systick.
   */
  HAL_Init();

  /* Configure the system clock */
  SystemClock_Config();
/* USER CODE BEGIN Boot_Mode_Sequence_2 */
#if defined(DUAL_CORE_BOOT_SYNC_SEQUENCE)
  /* When system initialization is finished, Cortex-M7 will release Cortex-M4
  by means of HSEM notification */
  /*HW semaphore Clock enable*/
  __HAL_RCC_HSEM_CLK_ENABLE();
  /*Take HSEM */
  HAL_HSEM_FastTake(HSEM_ID_0);
  /*Release HSEM in order to notify the CPU2(CM4)*/
  HAL_HSEM_Release(HSEM_ID_0, 0);
  /* wait until CPU2 wakes up from stop mode */
  timeout = 0xFFFF;
  while ((__HAL_RCC_GET_FLAG(RCC_FLAG_D2CKRDY) == RESET) && (timeout-- > 0))
    ;
  if (timeout < 0) {
    Error_Handler();
  }
#endif /* DUAL_CORE_BOOT_SYNC_SEQUENCE */
       /* USER CODE END Boot_Mode_Sequence_2 */

  /* Initialize all configured peripherals */
  MX_DMA_Init();
  MX_GPIO_Init();
  MX_ADC2_Init();
  MX_TIM8_Init();
  MX_SPI1_Init();
  MX_TIM1_Init();
  MX_TIM3_Init();
  MX_USB_DEVICE_Init();
  /* USER CODE BEGIN 2 */
  // HAL_SYSCFG_EnableVREFBUF();

  // HAL_ADCEx_Calibration_Start(&hadc2, ADC_CALIB_OFFSET_LINEARITY,
  //                             ADC_SINGLE_ENDED);

  // // while (HAL_ADCEx_Calibration_GetValue(&hadc2, ADC_SINGLE_ENDED) !=
  // HAL_OK)
  // //   ;

  // HAL_ADCEx_Calibration_Start(&hadc2, ADC_CALIB_FACTOR_LINEARITY_REGOFFSET,
  //                             ADC_SINGLE_ENDED);

  // HAL_ADCEx_Calibration_Start(&hadc2, ADC_CALIB_FACTOR_OFFSET_REGOFFSET,
  //                             ADC_SINGLE_ENDED);

  // if (HAL_OK == HAL_ADCEx_Calibration_Start(&hadc2,
  // ADC_CALIB_OFFSET_LINEARITY,
  //                                           ADC_SINGLE_ENDED)) {
  //   uint32_t calibFactor =
  //       HAL_ADCEx_Calibration_GetValue(&hadc2, ADC_SINGLE_ENDED);
  //   HAL_ADCEx_Calibration_SetValue(&hadc2, ADC_SINGLE_ENDED, calibFactor);
  // }

  // HAL_ADC_Start_DMA(&hadc2, (uint32_t *)ADC_VAL,
  //                   ADC_NUM_CONVERSIONS * READOUT_SAMPLES);

  // 1. Run the most comprehensive calibration (Offset + Linearity)
  // We wrap it in an if statement to catch hardware failures
  if (HAL_ADCEx_Calibration_Start(&hadc2, ADC_CALIB_OFFSET_LINEARITY,
                                  ADC_SINGLE_ENDED) != HAL_OK) {
    // Calibration failed. Insert your error handling here.
    Error_Handler();
  }

  // 2. Start the ADC in DMA mode
  if (HAL_ADC_Start_DMA(&hadc2, (uint32_t *)ADC_VAL,
                        ADC_NUM_CONVERSIONS * READOUT_SAMPLES) != HAL_OK) {
    // DMA Start failed. Insert your error handling here.
    Error_Handler();
  }

  // HAL_TIM_Base_Start_IT(&htim8); // Start timer for ADC triggering

  /* USER CODE END 2 */

  /* Initialize leds */
  BSP_LED_Init(LED_GREEN);
  BSP_LED_Init(LED_YELLOW);
  BSP_LED_Init(LED_RED);

  /* Initialize USER push-button, will be used to trigger an interrupt each time
   * it's pressed.*/
  BSP_PB_Init(BUTTON_USER, BUTTON_MODE_EXTI);

  /* Initialize COM1 port (115200, 8 bits (7-bit data + 1 stop bit), no parity
   */
  BspCOMInit.BaudRate = 115200;
  BspCOMInit.WordLength = COM_WORDLENGTH_8B;
  BspCOMInit.StopBits = COM_STOPBITS_1;
  BspCOMInit.Parity = COM_PARITY_NONE;
  BspCOMInit.HwFlowCtl = COM_HWCONTROL_NONE;
  if (BSP_COM_Init(COM1, &BspCOMInit) != BSP_ERROR_NONE) {
    Error_Handler();
  }

  /* Infinite loop */
  /* USER CODE BEGIN WHILE */

  // Disable internal reference (use internal 2V)
  TX_buffer[0] = 0x07000000;
  HAL_SPI_Transmit(&hspi1, (uint8_t *)TX_buffer, 1, 100); // CS automatic!
  HAL_Delay(1);

  // Enable flexible mode (optional)
  TX_buffer[0] = 0x090A0000;
  HAL_SPI_Transmit(&hspi1, (uint8_t *)TX_buffer, 1, 100); // CS automatic!
  HAL_Delay(10);

  DACcommand cmd;
  cmd.control = CMD_WRITE_UPDATE_ALL;
  cmd.feature = FEATURE_NO_OPERATION;
  cmd.channel = CHANNEL_ALL;
  cmd.data = 0x0; // Set all channels to midscale
  TX_buffer[0] = set_command_word(&cmd);
  HAL_SPI_Transmit_DMA(&hspi1, (uint8_t *)TX_buffer, 1);
  HAL_Delay(10);

  __NOP();
  while (1) {

    /* USER CODE END WHILE */

    /* USER CODE BEGIN 3 */
    process_usb_packet();

    // Check if we received the 'R' command over USB
    if (manual_hw_reset_requested) {
      manual_hw_reset_requested = 0; // Clear the flag

      // Optional: Only allow reset if the DAC isn't actively writing an image
      if (!DAC_Is_Busy()) {
        Send_Hardware_Reset_Pulse();

        // Let the PC know it finished
        uint8_t ack[] = "ACK_RST\r\n";
        CDC_Transmit_FS(ack, 9);
      }
    }

    // Wait for complete cycle (write + readout)
    if (readout_complete) {
      // Can do other work here
      readout_complete = 0;
      Process_Readout_Data();
      DAC_Reset();
      // DAC_Reset();
    }

    // Process readout data
  }

  /* USER CODE END 3 */
}

void SystemClock_Config(void) {
  RCC_OscInitTypeDef RCC_OscInitStruct = {0};
  RCC_ClkInitTypeDef RCC_ClkInitStruct = {0};

  /** Supply configuration update enable
   */
  HAL_PWREx_ConfigSupply(PWR_DIRECT_SMPS_SUPPLY);

  /** Configure the main internal regulator output voltage
   */
  __HAL_PWR_VOLTAGESCALING_CONFIG(PWR_REGULATOR_VOLTAGE_SCALE3);

  while (!__HAL_PWR_GET_FLAG(PWR_FLAG_VOSRDY)) {
  }

  /** Initializes the RCC Oscillators according to the specified parameters
   * in the RCC_OscInitTypeDef structure.
   */
  RCC_OscInitStruct.OscillatorType =
      RCC_OSCILLATORTYPE_HSI48 | RCC_OSCILLATORTYPE_HSI;
  RCC_OscInitStruct.HSIState = RCC_HSI_DIV1;
  RCC_OscInitStruct.HSICalibrationValue = RCC_HSICALIBRATION_DEFAULT;
  RCC_OscInitStruct.HSI48State = RCC_HSI48_ON;
  RCC_OscInitStruct.PLL.PLLState = RCC_PLL_ON;
  RCC_OscInitStruct.PLL.PLLSource = RCC_PLLSOURCE_HSI;
  RCC_OscInitStruct.PLL.PLLM = 4;
  RCC_OscInitStruct.PLL.PLLN = 10;
  RCC_OscInitStruct.PLL.PLLP = 2;
  RCC_OscInitStruct.PLL.PLLQ = 2;
  RCC_OscInitStruct.PLL.PLLR = 2;
  RCC_OscInitStruct.PLL.PLLRGE = RCC_PLL1VCIRANGE_3;
  RCC_OscInitStruct.PLL.PLLVCOSEL = RCC_PLL1VCOMEDIUM;
  RCC_OscInitStruct.PLL.PLLFRACN = 0;
  if (HAL_RCC_OscConfig(&RCC_OscInitStruct) != HAL_OK) {
    Error_Handler();
  }

  /** Initializes the CPU, AHB and APB buses clocks
   */
  RCC_ClkInitStruct.ClockType = RCC_CLOCKTYPE_HCLK | RCC_CLOCKTYPE_SYSCLK |
                                RCC_CLOCKTYPE_PCLK1 | RCC_CLOCKTYPE_PCLK2 |
                                RCC_CLOCKTYPE_D3PCLK1 | RCC_CLOCKTYPE_D1PCLK1;
  RCC_ClkInitStruct.SYSCLKSource = RCC_SYSCLKSOURCE_HSI;
  RCC_ClkInitStruct.SYSCLKDivider = RCC_SYSCLK_DIV1;
  RCC_ClkInitStruct.AHBCLKDivider = RCC_HCLK_DIV1;
  RCC_ClkInitStruct.APB3CLKDivider = RCC_APB3_DIV1;
  RCC_ClkInitStruct.APB1CLKDivider = RCC_APB1_DIV1;
  RCC_ClkInitStruct.APB2CLKDivider = RCC_APB2_DIV1;
  RCC_ClkInitStruct.APB4CLKDivider = RCC_APB4_DIV1;

  if (HAL_RCC_ClockConfig(&RCC_ClkInitStruct, FLASH_LATENCY_1) != HAL_OK) {
    Error_Handler();
  }
}

static void MX_ADC2_Init(void) {

  ADC_ChannelConfTypeDef sConfig = {0};

  /** Common config
   */
  hadc2.Instance = ADC2;
  hadc2.Init.ClockPrescaler = ADC_CLOCK_ASYNC_DIV2;
  hadc2.Init.Resolution = ADC_RESOLUTION_16B;
  hadc2.Init.ScanConvMode = ADC_SCAN_ENABLE;
  hadc2.Init.EOCSelection = ADC_EOC_SEQ_CONV;
  hadc2.Init.LowPowerAutoWait = DISABLE;
  hadc2.Init.ContinuousConvMode = DISABLE;
  hadc2.Init.NbrOfConversion = 8;
  hadc2.Init.DiscontinuousConvMode = DISABLE;
  hadc2.Init.ExternalTrigConv = ADC_EXTERNALTRIG_T8_TRGO;
  hadc2.Init.ExternalTrigConvEdge = ADC_EXTERNALTRIGCONVEDGE_RISING;
  hadc2.Init.ConversionDataManagement = ADC_CONVERSIONDATA_DMA_CIRCULAR;
  hadc2.Init.Overrun = ADC_OVR_DATA_OVERWRITTEN;
  hadc2.Init.LeftBitShift = ADC_LEFTBITSHIFT_NONE;
  hadc2.Init.OversamplingMode = DISABLE;
  hadc2.Init.Oversampling.Ratio = 1;
  if (HAL_ADC_Init(&hadc2) != HAL_OK) {
    Error_Handler();
  }

  /** Configure Regular Channel
   */
  sConfig.Channel = ADC_CHANNEL_3;
  sConfig.Rank = ADC_REGULAR_RANK_1;
  sConfig.SamplingTime = ADC_SAMPLETIME_32CYCLES_5;
  sConfig.SingleDiff = ADC_SINGLE_ENDED;
  sConfig.OffsetNumber = ADC_OFFSET_NONE;
  sConfig.Offset = 0;
  sConfig.OffsetSignedSaturation = DISABLE;
  if (HAL_ADC_ConfigChannel(&hadc2, &sConfig) != HAL_OK) {
    Error_Handler();
  }

  /** Configure Regular Channel
   */
  sConfig.Channel = ADC_CHANNEL_5;
  sConfig.Rank = ADC_REGULAR_RANK_2;
  if (HAL_ADC_ConfigChannel(&hadc2, &sConfig) != HAL_OK) {
    Error_Handler();
  }

  /** Configure Regular Channel
   */
  sConfig.Channel = ADC_CHANNEL_6;
  sConfig.Rank = ADC_REGULAR_RANK_3;
  if (HAL_ADC_ConfigChannel(&hadc2, &sConfig) != HAL_OK) {
    Error_Handler();
  }

  /** Configure Regular Channel
   */
  sConfig.Channel = ADC_CHANNEL_10;
  sConfig.Rank = ADC_REGULAR_RANK_4;
  if (HAL_ADC_ConfigChannel(&hadc2, &sConfig) != HAL_OK) {
    Error_Handler();
  }

  /** Configure Regular Channel
   */
  sConfig.Channel = ADC_CHANNEL_14;
  sConfig.Rank = ADC_REGULAR_RANK_5;
  if (HAL_ADC_ConfigChannel(&hadc2, &sConfig) != HAL_OK) {
    Error_Handler();
  }

  /** Configure Regular Channel
   */
  sConfig.Channel = ADC_CHANNEL_15;
  sConfig.Rank = ADC_REGULAR_RANK_6;
  if (HAL_ADC_ConfigChannel(&hadc2, &sConfig) != HAL_OK) {
    Error_Handler();
  }

  /** Configure Regular Channel
   */
  sConfig.Channel = ADC_CHANNEL_18;
  sConfig.Rank = ADC_REGULAR_RANK_7;
  if (HAL_ADC_ConfigChannel(&hadc2, &sConfig) != HAL_OK) {
    Error_Handler();
  }

  /** Configure Regular Channel
   */
  sConfig.Channel = ADC_CHANNEL_19;
  sConfig.Rank = ADC_REGULAR_RANK_8;
  if (HAL_ADC_ConfigChannel(&hadc2, &sConfig) != HAL_OK) {
    Error_Handler();
  }
}

static void MX_SPI1_Init(void) {

  /* SPI1 parameter configuration*/
  hspi1.Instance = SPI1;
  hspi1.Init.Mode = SPI_MODE_MASTER;
  hspi1.Init.Direction = SPI_DIRECTION_2LINES;
  hspi1.Init.DataSize = SPI_DATASIZE_32BIT;
  hspi1.Init.CLKPolarity = SPI_POLARITY_LOW;
  hspi1.Init.CLKPhase = SPI_PHASE_2EDGE;
  hspi1.Init.NSS = SPI_NSS_HARD_OUTPUT;
  hspi1.Init.BaudRatePrescaler = SPI_BAUDRATEPRESCALER_4;
  hspi1.Init.FirstBit = SPI_FIRSTBIT_MSB;
  hspi1.Init.TIMode = SPI_TIMODE_DISABLE;
  hspi1.Init.CRCCalculation = SPI_CRCCALCULATION_DISABLE;
  hspi1.Init.CRCPolynomial = 0x0;
  hspi1.Init.NSSPMode = SPI_NSS_PULSE_ENABLE;
  hspi1.Init.NSSPolarity = SPI_NSS_POLARITY_LOW;
  hspi1.Init.FifoThreshold = SPI_FIFO_THRESHOLD_01DATA;
  hspi1.Init.TxCRCInitializationPattern =
      SPI_CRC_INITIALIZATION_ALL_ZERO_PATTERN;
  hspi1.Init.RxCRCInitializationPattern =
      SPI_CRC_INITIALIZATION_ALL_ZERO_PATTERN;
  hspi1.Init.MasterSSIdleness = SPI_MASTER_SS_IDLENESS_02CYCLE;
  hspi1.Init.MasterInterDataIdleness = SPI_MASTER_INTERDATA_IDLENESS_02CYCLE;
  hspi1.Init.MasterReceiverAutoSusp = SPI_MASTER_RX_AUTOSUSP_DISABLE;
  hspi1.Init.MasterKeepIOState = SPI_MASTER_KEEP_IO_STATE_DISABLE;
  hspi1.Init.IOSwap = SPI_IO_SWAP_DISABLE;
  if (HAL_SPI_Init(&hspi1) != HAL_OK) {
    Error_Handler();
  }
}

static void MX_TIM1_Init(void) {

  TIM_ClockConfigTypeDef sClockSourceConfig = {0};
  TIM_MasterConfigTypeDef sMasterConfig = {0};

  htim1.Instance = TIM1;
  htim1.Init.Prescaler = 64 - 1;
  htim1.Init.CounterMode = TIM_COUNTERMODE_UP;
  htim1.Init.Period = 250 - 1;
  htim1.Init.ClockDivision = TIM_CLOCKDIVISION_DIV1;
  htim1.Init.RepetitionCounter = 0;
  htim1.Init.AutoReloadPreload = TIM_AUTORELOAD_PRELOAD_DISABLE;
  if (HAL_TIM_Base_Init(&htim1) != HAL_OK) {
    Error_Handler();
  }
  sClockSourceConfig.ClockSource = TIM_CLOCKSOURCE_INTERNAL;
  if (HAL_TIM_ConfigClockSource(&htim1, &sClockSourceConfig) != HAL_OK) {
    Error_Handler();
  }
  sMasterConfig.MasterOutputTrigger = TIM_TRGO_UPDATE;
  sMasterConfig.MasterOutputTrigger2 = TIM_TRGO2_RESET;
  sMasterConfig.MasterSlaveMode = TIM_MASTERSLAVEMODE_DISABLE;
  if (HAL_TIMEx_MasterConfigSynchronization(&htim1, &sMasterConfig) != HAL_OK) {
    Error_Handler();
  }
  /* USER CODE BEGIN TIM1_Init 2 */
  HAL_NVIC_SetPriority(TIM1_UP_IRQn, 2, 0); // TIM1 — lower than DMA
  /* USER CODE END TIM1_Init 2 */
}

static void MX_TIM3_Init(void) {

  TIM_ClockConfigTypeDef sClockSourceConfig = {0};
  TIM_MasterConfigTypeDef sMasterConfig = {0};
  TIM_OC_InitTypeDef sConfigOC = {0};

  htim3.Instance = TIM3;
  htim3.Init.Prescaler = 640 - 1;
  htim3.Init.CounterMode = TIM_COUNTERMODE_UP;
  htim3.Init.Period = 1000 - 1;
  htim3.Init.ClockDivision = TIM_CLOCKDIVISION_DIV1;
  htim3.Init.AutoReloadPreload = TIM_AUTORELOAD_PRELOAD_DISABLE;
  if (HAL_TIM_Base_Init(&htim3) != HAL_OK) {
    Error_Handler();
  }
  sClockSourceConfig.ClockSource = TIM_CLOCKSOURCE_INTERNAL;
  if (HAL_TIM_ConfigClockSource(&htim3, &sClockSourceConfig) != HAL_OK) {
    Error_Handler();
  }
  if (HAL_TIM_PWM_Init(&htim3) != HAL_OK) {
    Error_Handler();
  }
  if (HAL_TIM_OnePulse_Init(&htim3, TIM_OPMODE_SINGLE) != HAL_OK) {
    Error_Handler();
  }
  sMasterConfig.MasterOutputTrigger = TIM_TRGO_RESET;
  sMasterConfig.MasterSlaveMode = TIM_MASTERSLAVEMODE_DISABLE;
  if (HAL_TIMEx_MasterConfigSynchronization(&htim3, &sMasterConfig) != HAL_OK) {
    Error_Handler();
  }
  sConfigOC.OCMode = TIM_OCMODE_PWM1;
  sConfigOC.Pulse = 100;
  sConfigOC.OCPolarity = TIM_OCPOLARITY_HIGH;
  sConfigOC.OCFastMode = TIM_OCFAST_DISABLE;
  if (HAL_TIM_PWM_ConfigChannel(&htim3, &sConfigOC, TIM_CHANNEL_1) != HAL_OK) {
    Error_Handler();
  }
  HAL_TIM_MspPostInit(&htim3);
}

static void MX_TIM8_Init(void) {

  TIM_ClockConfigTypeDef sClockSourceConfig = {0};
  TIM_MasterConfigTypeDef sMasterConfig = {0};

  htim8.Instance = TIM8;
  htim8.Init.Prescaler = 64 - 1;
  htim8.Init.CounterMode = TIM_COUNTERMODE_UP;
  htim8.Init.Period = 10 - 1;
  htim8.Init.ClockDivision = TIM_CLOCKDIVISION_DIV1;
  htim8.Init.RepetitionCounter = 0;
  htim8.Init.AutoReloadPreload = TIM_AUTORELOAD_PRELOAD_DISABLE;
  if (HAL_TIM_Base_Init(&htim8) != HAL_OK) {
    Error_Handler();
  }
  sClockSourceConfig.ClockSource = TIM_CLOCKSOURCE_INTERNAL;
  if (HAL_TIM_ConfigClockSource(&htim8, &sClockSourceConfig) != HAL_OK) {
    Error_Handler();
  }
  sMasterConfig.MasterOutputTrigger = TIM_TRGO_UPDATE;
  sMasterConfig.MasterOutputTrigger2 = TIM_TRGO2_RESET;
  sMasterConfig.MasterSlaveMode = TIM_MASTERSLAVEMODE_DISABLE;
  if (HAL_TIMEx_MasterConfigSynchronization(&htim8, &sMasterConfig) != HAL_OK) {
    Error_Handler();
  }
}

static void MX_DMA_Init(void) {

  /* DMA controller clock enable */
  __HAL_RCC_DMA1_CLK_ENABLE();
  __HAL_RCC_DMA2_CLK_ENABLE();

  /* DMA interrupt init */
  /* DMA1_Stream1_IRQn interrupt configuration */
  HAL_NVIC_SetPriority(DMA1_Stream1_IRQn, 0, 0);
  HAL_NVIC_EnableIRQ(DMA1_Stream1_IRQn);
  /* DMA2_Stream0_IRQn interrupt configuration */
  HAL_NVIC_SetPriority(DMA2_Stream0_IRQn, 1, 0);
  HAL_NVIC_EnableIRQ(DMA2_Stream0_IRQn);
}

static void MX_GPIO_Init(void) {

  /* GPIO Ports Clock Enable */
  __HAL_RCC_GPIOC_CLK_ENABLE();
  __HAL_RCC_GPIOA_CLK_ENABLE();
  __HAL_RCC_GPIOB_CLK_ENABLE();
  __HAL_RCC_GPIOF_CLK_ENABLE();
  __HAL_RCC_GPIOD_CLK_ENABLE();
  __HAL_RCC_GPIOG_CLK_ENABLE();

}

/* MPU Configuration */

void MPU_Config(void) {
  MPU_Region_InitTypeDef MPU_InitStruct = {0};

  /* Disables the MPU */
  HAL_MPU_Disable();

  /** Initializes and configures the Region and the memory to be protected
   */
  MPU_InitStruct.Enable = MPU_REGION_ENABLE;
  MPU_InitStruct.Number = MPU_REGION_NUMBER0;
  MPU_InitStruct.BaseAddress = 0x30000000;
  MPU_InitStruct.Size = MPU_REGION_SIZE_4KB;
  MPU_InitStruct.SubRegionDisable = 0x0;
  MPU_InitStruct.TypeExtField = MPU_TEX_LEVEL0;
  MPU_InitStruct.AccessPermission = MPU_REGION_FULL_ACCESS;
  MPU_InitStruct.DisableExec = MPU_INSTRUCTION_ACCESS_DISABLE;
  MPU_InitStruct.IsShareable = MPU_ACCESS_SHAREABLE;
  MPU_InitStruct.IsCacheable = MPU_ACCESS_NOT_CACHEABLE;
  MPU_InitStruct.IsBufferable = MPU_ACCESS_BUFFERABLE;

  HAL_MPU_ConfigRegion(&MPU_InitStruct);
  /* Enables the MPU */
  HAL_MPU_Enable(MPU_PRIVILEGED_DEFAULT);
}

void Error_Handler(void) {
  /* USER CODE BEGIN Error_Handler_Debug */
  /* User can add his own implementation to report the HAL error return state
   */
  __disable_irq();
  while (1) {
  }
  /* USER CODE END Error_Handler_Debug */
}
#ifdef USE_FULL_ASSERT
/**
 * @brief  Reports the name of the source file and the source line number
 *         where the assert_param error has occurred.
 * @param  file: pointer to the source file name
 * @param  line: assert_param error line source number
 * @retval None
 */
void assert_failed(uint8_t *file, uint32_t line) {
  /* USER CODE BEGIN 6 */
  /* User can add his own implementation to report the file name and line
     number, ex: printf("Wrong parameters value: file %s on line %d\r\n",
     file, line) */
  /* USER CODE END 6 */
}
#endif /* USE_FULL_ASSERT */
